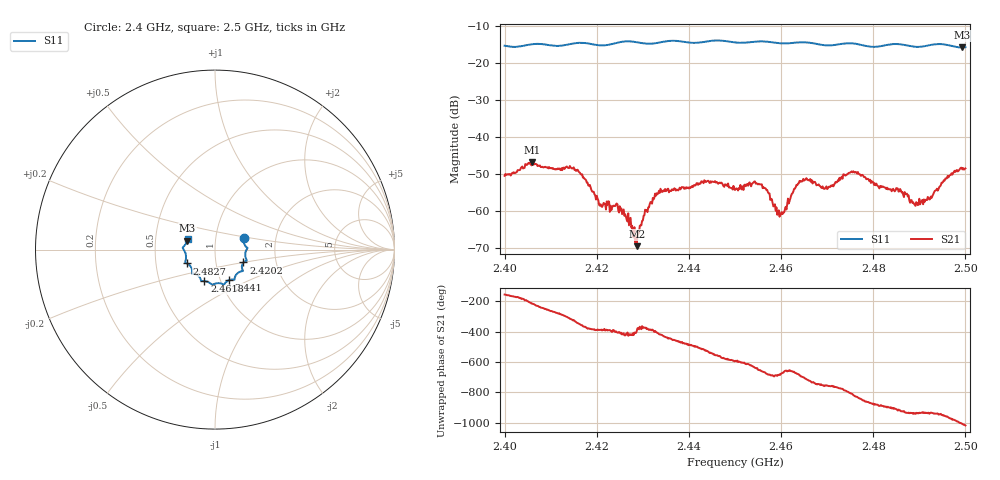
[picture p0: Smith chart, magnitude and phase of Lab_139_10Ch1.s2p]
# Hz S RI R 50
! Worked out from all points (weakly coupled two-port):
!   601 points, 2.4 GHz to 2.5 GHz, reference 50 ohm
!   highest |S21| = -46.89 dB at 2.406 GHz (marker M1); lowest = -69.6 dB at 2.4287 GHz (marker M2)
!   lowest |S11| = -15.8 dB at 2.4993 GHz (marker M3), VSWR 1.39, Z = 36.5 + j3.79 ohm
!   |S11| at or under -10 dB: start of sweep to end of sweep
!   S12 and S22 are empty: the file has one direction only
!   S11 on the Smith chart (normalised r, x): 2.4 GHz: 1.36, +0.18; 2.4202 GHz: 1.36, -0.20; 2.441 GHz: 1.10, -0.39; 2.4618 GHz: 0.84, -0.30; 2.4827 GHz: 0.72, -0.11; 2.5 GHz: 0.73, +0.09
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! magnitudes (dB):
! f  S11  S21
! 2.4 GHz  -15.3  -50.6
! 2.406 GHz  -14.9  -46.9
! 2.4167 GHz  -14.6  -50.2
! 2.4202 GHz  -15.2  -56.7
! 2.4248 GHz  -14.4  -60.5
! 2.4287 GHz  -14.4  -69.6
! 2.4307 GHz  -14.8  -60.0
! 2.4333 GHz  -14.5  -55.2
! 2.441 GHz  -14.6  -53.2
! 2.45 GHz  -14.4  -54.4
! 2.4553 GHz  -14.2  -52.8
! 2.4597 GHz  -14.7  -61.6
! 2.4618 GHz  -14.6  -57.4
! 2.4638 GHz  -14.4  -52.6
! 2.4667 GHz  -14.6  -51.7
! 2.4697 GHz  -15.2  -53.7
! 2.4758 GHz  -14.7  -49.6
! 2.4827 GHz  -15.2  -53.8
! 2.4833 GHz  -15.0  -54.0
! 2.4893 GHz  -15.6  -57.7
! 2.4993 GHz  -15.8  -48.8
! 2.5 GHz  -15.7  -48.5
